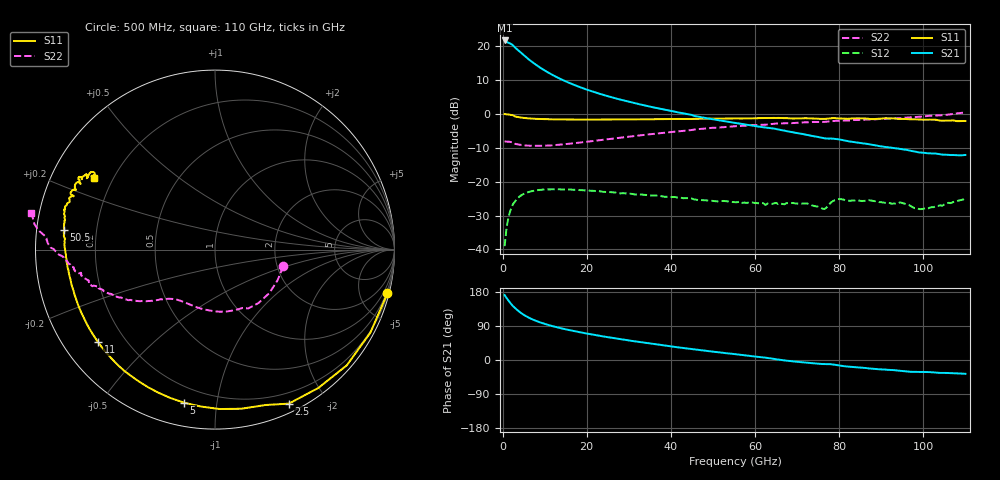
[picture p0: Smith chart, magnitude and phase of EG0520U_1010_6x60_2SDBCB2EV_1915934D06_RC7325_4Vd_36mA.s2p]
!File name = EG0520U_1010_6x60_2SDBCB2EV_1915934D06_RC7325_4Vd_36mA.s2p
!Base file name = EG0520U_1010_6x60_2SDBCB2EV_1915934D06_RC7325
!Date = 8/23/2019
!Time = 1:11 PM
!Test duration(min) = 0.15
!Test = S-Parameters
!MPTS version = 8.91.5
!State File = C:\Data\PNA\20190821205423\S-Parameters_2019-08-23.sta
!Cal File =
!ComputerName = CMPE-LAB-6
!Comments =
!Attenuation = 0
!Z0 = 50
!Input Power(dBm) = -13.00
!Device ID = EG0520U_1010_6x60_2SDBCB2EV
!Row = 73
!Column = 25
!Technology = QPHT09
!Lot/Wafer = 1915934D06
!Gate Size = 360
!Mask = EG0520
!Cal Standards = GaAs BCB
!Cal Kit = EG2306
!Job Number = 20190821205423
!Device Type = FET
!set_Vg(v) = -1.500
!set_Vd(v) = 4.000
!set_Vd(mA) = 36.000
!file_name = EG0520U_1010_6x60_2SDBCB2EV_1915934D06_RC7325_4Vd_36mA.s2p
!Vd(V) = 4.000
!Vd(mA) = 35.873
!Vg(V) = -0.570
!Vg(mA) = -0.005
# GHz  S  DB  R  50
!%	Freq(GHz)  s11(dB)  s11(deg)  s21(dB)  s21(deg)  s12(dB)  s12(deg)  s22(dB)  s22(deg)
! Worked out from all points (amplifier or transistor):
!   220 points, 500 MHz to 110 GHz, reference 50 ohm
!   highest |S21| = 21.6 dB at 500 MHz (marker M1)
!   |S21| within 3 dB of that: start of sweep to 3.817 GHz
!   unconditionally stable (mu >= 1): 32.83 GHz to 102.5 GHz
!   at 18.5 GHz: K = 0.54, MSG = 15.1 dB, |S12| = -22.5 dB
!   at 55.5 GHz: K = 1.61, MAG = 7.1 dB, |S12| = -26.1 dB
!   at 110 GHz: K = -2.11, MSG = 6.4 dB, |S12| = -25.0 dB
!   S11 on the Smith chart (normalised r, x): 500 MHz: 0.29, -8.00; 2.5 GHz: 0.09, -1.58; 5 GHz: 0.12, -0.81; 11 GHz: 0.10, -0.35; 50.5 GHz: 0.08, +0.07; 110 GHz: 0.13, +0.27
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0.5  -0.08 -14.2  21.62 171.2  -39.03 80.8  -8.14 -13.9
1  -0.16 -28.1  21.22 163.0  -33.23 73.7  -8.21 -26.5
1.5  -0.20 -41.3  20.88 155.7  -30.06 66.7  -8.23 -38.7
2  -0.34 -53.2  20.62 148.5  -28.03 60.0  -8.31 -50.7
2.5  -0.43 -64.4  20.18 142.1  -26.62 54.3  -8.48 -60.5
3.5  -0.93 -80.7  18.97 131.9  -25.02 45.6  -8.99 -72.1
4.5  -1.13 -95.2  17.87 123.2  -23.99 38.1  -9.18 -85.1
5  -1.21 -101.4  17.33 119.5  -23.64 35.1  -9.27 -90.3
6  -1.34 -111.8  16.29 113.1  -23.14 30.0  -9.39 -99.2
7.5  -1.46 -123.7  14.85 105.3  -22.69 24.0  -9.45 -108.9
9  -1.54 -132.5  13.56 99.1  -22.41 19.6  -9.46 -115.2
11  -1.60 -141.6  12.06 92.1  -22.28 14.8  -9.36 -121.8
14.5  -1.68 -152.4  9.85 82.2  -22.30 9.2  -8.99 -128.8
19  -1.71 -161.4  7.58 71.9  -22.53 4.3  -8.38 -133.9
26.5  -1.68 -170.8  4.67 57.6  -23.17 0.1  -7.25 -139.4
37  -1.58 -178.9  1.60 40.5  -24.13 -1.5  -5.77 -146.1
50.5  -1.43 172.5  -1.72 21.5  -25.75 0.6  -4.13 -156.0
55.5  -1.39 169.5  -2.73 15.2  -26.11 1.2  -3.65 -158.8
73.5  -1.38 159.8  -6.51 -8.5  -26.99 -3.1  -2.40 -169.0
92  -1.36 151.7  -9.94 -26.1  -26.30 -14.9  -1.42 -177.4
99.5  -1.69 150.1  -11.43 -31.3  -28.11 -15.2  -0.82 179.4
110  -2.13 149.4  -12.14 -36.4  -24.98 -12.4  0.39 168.7
